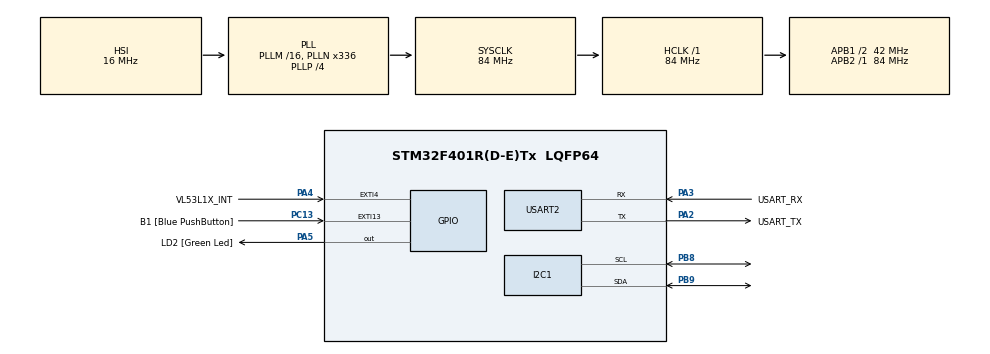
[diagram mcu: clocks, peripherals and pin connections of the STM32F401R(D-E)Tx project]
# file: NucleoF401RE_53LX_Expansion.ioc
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Mcu.Family=STM32F4
Mcu.Name=STM32F401R(D-E)Tx
Mcu.Package=LQFP64
NVIC.EXTI4_IRQn=true\:0\:0\:false\:false\:true
NVIC.PriorityGroup=NVIC_PRIORITYGROUP_0
PA13.GPIO_Label=TMS
PA13.Signal=SYS_JTMS-SWDIO
PA14.GPIO_Label=TCK
PA14.Signal=SYS_JTCK-SWCLK
PA2.GPIO_Label=USART_TX
PA2.GPIO_Mode=GPIO_MODE_AF_PP
PA2.GPIO_PuPd=GPIO_NOPULL
PA2.GPIO_Speed=GPIO_SPEED_FREQ_LOW
PA2.Mode=Asynchronous
PA2.Signal=USART2_TX
PA3.GPIO_Label=USART_RX
PA3.GPIO_Mode=GPIO_MODE_AF_PP
PA3.GPIO_PuPd=GPIO_NOPULL
PA3.GPIO_Speed=GPIO_SPEED_FREQ_LOW
PA3.Mode=Asynchronous
PA3.Signal=USART2_RX
PA4.GPIO_Label=VL53L1X_INT
PA4.GPIO_ModeDefaultEXTI=GPIO_MODE_IT_FALLING
PA4.GPIO_PuPd=GPIO_PULLUP
PA4.Signal=GPXTI4
PA5.GPIO_Label=LD2 [Green Led]
PA5.GPIO_Mode=GPIO_MODE_OUTPUT_PP
PA5.GPIO_PuPd=GPIO_NOPULL
PA5.GPIO_Speed=GPIO_SPEED_FREQ_LOW
PA5.Signal=GPIO_Output
PB3.GPIO_Label=SWO
PB3.Signal=SYS_JTDO-SWO
PB8.Mode=I2C
PB8.Signal=I2C1_SCL
PB9.Mode=I2C
PB9.Signal=I2C1_SDA
PC13-ANTI_TAMP.GPIO_Label=B1 [Blue PushButton]
PC13-ANTI_TAMP.GPIO_ModeDefaultEXTI=GPIO_MODE_IT_FALLING
PC13-ANTI_TAMP.GPIO_PuPd=GPIO_NOPULL
PC13-ANTI_TAMP.Signal=GPXTI13
PC14-OSC32_IN.Signal=RCC_OSC32_IN
PC15-OSC32_OUT.Signal=RCC_OSC32_OUT
PH0\ -\ OSC_IN.Signal=RCC_OSC_IN
PH1\ -\ OSC_OUT.Signal=RCC_OSC_OUT
ProjectManager.HeapSize=0x200
ProjectManager.StackSize=0x400
ProjectManager.TargetToolchain=SW4STM32
RCC.AHBFreq_Value=84000000
RCC.APB1CLKDivider=RCC_HCLK_DIV2
RCC.APB1Freq_Value=42000000
RCC.APB1TimFreq_Value=84000000
RCC.APB2Freq_Value=84000000
RCC.APB2TimFreq_Value=84000000
RCC.CortexFreq_Value=84000000
RCC.HCLKFreq_Value=84000000
RCC.HSE_VALUE=8000000
RCC.HSI_VALUE=16000000
RCC.LSE_VALUE=32768
RCC.PLLN=336
RCC.PLLP=RCC_PLLP_DIV4
RCC.PLLQ=7
RCC.SYSCLKFreq_VALUE=84000000
RCC.SYSCLKSource=RCC_SYSCLKSOURCE_PLLCLK
RCC.VCOOutputFreq_Value=336000000
USART2.VirtualMode=VM_ASYNC
board=NUCLEO-F401RE

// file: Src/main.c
/**
******************************************************************************
* File Name          : main.c
* Description        : Main program body
******************************************************************************
*
* COPYRIGHT(c) 2020 STMicroelectronics
*
* Redistribution and use in source and binary forms, with or without modification,
* are permitted provided that the following conditions are met:
*   1. Redistributions of source code must retain the above copyright notice,
*      this list of conditions and the following disclaimer.
*   2. Redistributions in binary form must reproduce the above copyright notice,
*      this list of conditions and the following disclaimer in the documentation
*      and/or other materials provided with the distribution.
*   3. Neither the name of STMicroelectronics nor the names of its contributors
*      may be used to endorse or promote products derived from this software
*      without specific prior written permission.
*
* THIS SOFTWARE IS PROVIDED BY THE COPYRIGHT HOLDERS AND CONTRIBUTORS "AS IS"
* AND ANY EXPRESS OR IMPLIED WARRANTIES, INCLUDING, BUT NOT LIMITED TO, THE
* IMPLIED WARRANTIES OF MERCHANTABILITY AND FITNESS FOR A PARTICULAR PURPOSE ARE
* DISCLAIMED. IN NO EVENT SHALL THE COPYRIGHT HOLDER OR CONTRIBUTORS BE LIABLE
* FOR ANY DIRECT, INDIRECT, INCIDENTAL, SPECIAL, EXEMPLARY, OR CONSEQUENTIAL
* DAMAGES (INCLUDING, BUT NOT LIMITED TO, PROCUREMENT OF SUBSTITUTE GOODS OR
* SERVICES; LOSS OF USE, DATA, OR PROFITS; OR BUSINESS INTERRUPTION) HOWEVER
* CAUSED AND ON ANY THEORY OF LIABILITY, WHETHER IN CONTRACT, STRICT LIABILITY,
* OR TORT (INCLUDING NEGLIGENCE OR OTHERWISE) ARISING IN ANY WAY OUT OF THE USE
* OF THIS SOFTWARE, EVEN IF ADVISED OF THE POSSIBILITY OF SUCH DAMAGE.
*
******************************************************************************
*/
#include "stm32xxx_hal.h"

/* USER CODE BEGIN Includes */
#include "main.h"
#include "vl53lx_api.h"
#include "53L3A2.h"
/* USER CODE END Includes */
/* USER CODE BEGIN PV */
/* Private variables ---------------------------------------------------------*/
I2C_HandleTypeDef hi2c1;
UART_HandleTypeDef huart2;
VL53LX_Dev_t                   dev;
VL53LX_DEV                     Dev = &dev;
int status;
volatile int IntCount;
#define isInterrupt 1 /* If isInterrupt = 1 then device working in hardware interrupt mode, else device working in polling mode */
/* USER CODE END PV */

/* USER CODE BEGIN PFP */
/* Private function prototypes -----------------------------------------------*/
void SystemClock_Config(void);
void Error_Handler(void);
static void MX_GPIO_Init(void);
static void MX_USART2_UART_Init(void);
static void MX_I2C1_Init(void);
void RangingLoop(void); /*  */
/* USER CODE END PFP */

/* USER CODE BEGIN 0 */
#define PUTCHAR_PROTOTYPE int fputc(int ch, FILE *f)

PUTCHAR_PROTOTYPE
{
  HAL_UART_Transmit(&huart2, (uint8_t*)&ch, 1, 0xFFFF);
  return ch;
}

void HAL_GPIO_EXTI_Callback(uint16_t GPIO_Pin)
{
  if (GPIO_Pin==VL53L1X_INT_Pin)
  {
    IntCount++;
  }
}

/* USER CODE END 0 */

int main(void)
{
  /* USER CODE BEGIN 1 */

  uint8_t byteData;
  uint16_t wordData;
  uint8_t ToFSensor = 1; // 0=Left, 1=Center(default), 2=Right

  /* MCU Configuration----------------------------------------------------------*/

  /* Reset of all peripherals, Initializes the Flash interface and the Systick. */
  HAL_Init();

  /* Configure the system clock */
  SystemClock_Config();

  /* Initialize all configured peripherals */
  MX_GPIO_Init();

  MX_USART2_UART_Init();

  MX_I2C1_Init();

  XNUCLEO53L3A2_Init();

  /* USER CODE END 1 */

  /* USER CODE BEGIN 2 */

  printf("VL53L1X Examples...\n");
  Dev->I2cHandle = &hi2c1;
  Dev->I2cDevAddr = 0x52;

  /* Allow to select the sensor to be used, multi-sensor is not managed in this example.
  Only when use use the Left ToF in interrupt mode,  solder the U7 on the X-Nucleo-53L3A2 board
  Only when use the Right ToF in interrupt mode, solder the U7 on the X-Nucleo-53L3A2 board
  See "Solder drop configurations" in the X-Nucleo-53L3A2 User Manual for more details */
  ToFSensor = 1; // Select ToFSensor: 0=Left, 1=Center, 2=Right
  status = XNUCLEO53L3A2_ResetId(ToFSensor, 0); // Reset ToF sensor
  HAL_Delay(2);
  status = XNUCLEO53L3A2_ResetId(ToFSensor, 1); // Reset ToF sensor
  HAL_Delay(2);

  VL53LX_RdByte(Dev, 0x010F, &byteData);
  printf("VL53LX Model_ID: %02X\n\r", byteData);
  VL53LX_RdByte(Dev, 0x0110, &byteData);
  printf("VL53LX Module_Type: %02X\n\r", byteData);
  VL53LX_RdWord(Dev, 0x010F, &wordData);
  printf("VL53LX: %02X\n\r", wordData);
  RangingLoop();

  /* USER CODE END 2 */

  /* Infinite loop */
  while (1)
  {

  }

}

/** System Clock Configuration
*/
#ifdef STM32F401xE

void SystemClock_Config(void)
{

  RCC_OscInitTypeDef RCC_OscInitStruct;
  RCC_ClkInitTypeDef RCC_ClkInitStruct;

  /**Configure the main internal regulator output voltage
  */
  __HAL_RCC_PWR_CLK_ENABLE();

  __HAL_PWR_VOLTAGESCALING_CONFIG(PWR_REGULATOR_VOLTAGE_SCALE2);

  /**Initializes the CPU, AHB and APB busses clocks
  */
  RCC_OscInitStruct.OscillatorType = RCC_OSCILLATORTYPE_HSI;
  RCC_OscInitStruct.HSIState = RCC_HSI_ON;
  RCC_OscInitStruct.HSICalibrationValue = 16;
  RCC_OscInitStruct.PLL.PLLState = RCC_PLL_ON;
  RCC_OscInitStruct.PLL.PLLSource = RCC_PLLSOURCE_HSI;
  RCC_OscInitStruct.PLL.PLLM = 16;
  RCC_OscInitStruct.PLL.PLLN = 336;
  RCC_OscInitStruct.PLL.PLLP = RCC_PLLP_DIV4;
  RCC_OscInitStruct.PLL.PLLQ = 7;
  if (HAL_RCC_OscConfig(&RCC_OscInitStruct) != HAL_OK)
  {
    Error_Handler();
  }

  /**Initializes the CPU, AHB and APB busses clocks
  */
  RCC_ClkInitStruct.ClockType = RCC_CLOCKTYPE_HCLK|RCC_CLOCKTYPE_SYSCLK
    |RCC_CLOCKTYPE_PCLK1|RCC_CLOCKTYPE_PCLK2;
  RCC_ClkInitStruct.SYSCLKSource = RCC_SYSCLKSOURCE_PLLCLK;
  RCC_ClkInitStruct.AHBCLKDivider = RCC_SYSCLK_DIV1;
  RCC_ClkInitStruct.APB1CLKDivider = RCC_HCLK_DIV2;
  RCC_ClkInitStruct.APB2CLKDivider = RCC_HCLK_DIV1;

  if (HAL_RCC_ClockConfig(&RCC_ClkInitStruct, FLASH_LATENCY_2) != HAL_OK)
  {
    Error_Handler();
  }

  /**Configure the Systick interrupt time
  */
  HAL_SYSTICK_Config(HAL_RCC_GetHCLKFreq()/1000);

  /**Configure the Systick
  */
  HAL_SYSTICK_CLKSourceConfig(SYSTICK_CLKSOURCE_HCLK);

  /* SysTick_IRQn interrupt configuration */
  HAL_NVIC_SetPriority(SysTick_IRQn, 0, 0);
}
#endif

#ifdef STM32L476xx
void SystemClock_Config(void)
{

  RCC_OscInitTypeDef RCC_OscInitStruct;
  RCC_ClkInitTypeDef RCC_ClkInitStruct;
  RCC_PeriphCLKInitTypeDef PeriphClkInit;

  /**Initializes the CPU, AHB and APB busses clocks
  */
  RCC_OscInitStruct.OscillatorType = RCC_OSCILLATORTYPE_HSI;
  RCC_OscInitStruct.HSIState = RCC_HSI_ON;
  RCC_OscInitStruct.HSICalibrationValue = 16;
  RCC_OscInitStruct.PLL.PLLState = RCC_PLL_ON;
  RCC_OscInitStruct.PLL.PLLSource = RCC_PLLSOURCE_HSI;
  RCC_OscInitStruct.PLL.PLLM = 1;
  RCC_OscInitStruct.PLL.PLLN = 10;
  RCC_OscInitStruct.PLL.PLLP = RCC_PLLP_DIV7;
  RCC_OscInitStruct.PLL.PLLQ = RCC_PLLQ_DIV2;
  RCC_OscInitStruct.PLL.PLLR = RCC_PLLR_DIV2;
  if (HAL_RCC_OscConfig(&RCC_OscInitStruct) != HAL_OK)
  {
    Error_Handler();
  }

  /**Initializes the CPU, AHB and APB busses clocks
  */
  RCC_ClkInitStruct.ClockType = RCC_CLOCKTYPE_HCLK|RCC_CLOCKTYPE_SYSCLK
    |RCC_CLOCKTYPE_PCLK1|RCC_CLOCKTYPE_PCLK2;
  RCC_ClkInitStruct.SYSCLKSource = RCC_SYSCLKSOURCE_PLLCLK;
  RCC_ClkInitStruct.AHBCLKDivider = RCC_SYSCLK_DIV1;
  RCC_ClkInitStruct.APB1CLKDivider = RCC_HCLK_DIV1;
  RCC_ClkInitStruct.APB2CLKDivider = RCC_HCLK_DIV1;

  if (HAL_RCC_ClockConfig(&RCC_ClkInitStruct, FLASH_LATENCY_4) != HAL_OK)
  {
    Error_Handler();
  }

  PeriphClkInit.PeriphClockSelection = RCC_PERIPHCLK_USART2|RCC_PERIPHCLK_I2C1;
  PeriphClkInit.Usart2ClockSelection = RCC_USART2CLKSOURCE_PCLK1;
  PeriphClkInit.I2c1ClockSelection = RCC_I2C1CLKSOURCE_PCLK1;
  if (HAL_RCCEx_PeriphCLKConfig(&PeriphClkInit) != HAL_OK)
  {
    Error_Handler();
  }

  /**Configure the main internal regulator output voltage
  */
  if (HAL_PWREx_ControlVoltageScaling(PWR_REGULATOR_VOLTAGE_SCALE1) != HAL_OK)
  {
    Error_Handler();
  }

  /**Configure the Systick interrupt time
  */
  HAL_SYSTICK_Config(HAL_RCC_GetHCLKFreq()/1000);

  /**Configure the Systick
  */
  HAL_SYSTICK_CLKSourceConfig(SYSTICK_CLKSOURCE_HCLK);

  /* SysTick_IRQn interrupt configuration */
  HAL_NVIC_SetPriority(SysTick_IRQn, 0, 0);
}
#endif
#ifdef STM32F401xE

/* I2C1 init function */
static void MX_I2C1_Init(void)
{

  hi2c1.Instance = I2C1;
  hi2c1.Init.ClockSpeed = 100000;
  hi2c1.Init.DutyCycle = I2C_DUTYCYCLE_2;
  hi2c1.Init.OwnAddress1 = 0;
  hi2c1.Init.AddressingMode = I2C_ADDRESSINGMODE_7BIT;
  hi2c1.Init.DualAddressMode = I2C_DUALADDRESS_DISABLE;
  hi2c1.Init.OwnAddress2 = 0;
  hi2c1.Init.GeneralCallMode = I2C_GENERALCALL_DISABLE;
  hi2c1.Init.NoStretchMode = I2C_NOSTRETCH_DISABLE;
  if (HAL_I2C_Init(&hi2c1) != HAL_OK)
  {
    Error_Handler();
  }

}
#endif
#ifdef STM32L476xx
/* I2C1 init function */
static void MX_I2C1_Init(void)
{

  hi2c1.Instance = I2C1;
  hi2c1.Init.Timing = 0x10909CEC;
  hi2c1.Init.OwnAddress1 = 0;
  hi2c1.Init.AddressingMode = I2C_ADDRESSINGMODE_7BIT;
  hi2c1.Init.DualAddressMode = I2C_DUALADDRESS_DISABLE;
  hi2c1.Init.OwnAddress2 = 0;
  hi2c1.Init.OwnAddress2Masks = I2C_OA2_NOMASK;
  hi2c1.Init.GeneralCallMode = I2C_GENERALCALL_DISABLE;
  hi2c1.Init.NoStretchMode = I2C_NOSTRETCH_DISABLE;
  if (HAL_I2C_Init(&hi2c1) != HAL_OK)
  {
    Error_Handler();
  }

  /**Configure Analogue filter
  */
  if (HAL_I2CEx_ConfigAnalogFilter(&hi2c1, I2C_ANALOGFILTER_ENABLE) != HAL_OK)
  {
    Error_Handler();
  }

  /**Configure Digital filter
  */
  if (HAL_I2CEx_ConfigDigitalFilter(&hi2c1, 0) != HAL_OK)
  {
    Error_Handler();
  }

}
#endif
/* USART2 init function */
static void MX_USART2_UART_Init(void)
{

  huart2.Instance = USART2;
  huart2.Init.BaudRate = 115200;
  huart2.Init.WordLength = UART_WORDLENGTH_8B;
  huart2.Init.StopBits = UART_STOPBITS_1;
  huart2.Init.Parity = UART_PARITY_NONE;
  huart2.Init.Mode = UART_MODE_TX_RX;
  huart2.Init.HwFlowCtl = UART_HWCONTROL_NONE;
  huart2.Init.OverSampling = UART_OVERSAMPLING_16;
  if (HAL_UART_Init(&huart2) != HAL_OK)
  {
    Error_Handler();
  }

}

/** Configure pins as
* Analog
* Input
* Output
* EVENT_OUT
* EXTI
*/
static void MX_GPIO_Init(void)
{

  GPIO_InitTypeDef GPIO_InitStruct;

  /* GPIO Ports Clock Enable */
  __HAL_RCC_GPIOC_CLK_ENABLE();
  __HAL_RCC_GPIOH_CLK_ENABLE();
  __HAL_RCC_GPIOA_CLK_ENABLE();
  __HAL_RCC_GPIOB_CLK_ENABLE();

  /*Configure GPIO pin Output Level */
  HAL_GPIO_WritePin(LD2_GPIO_Port, LD2_Pin, GPIO_PIN_RESET);

  /*Configure GPIO pin : B1_Pin */
  GPIO_InitStruct.Pin = B1_Pin;
  GPIO_InitStruct.Mode = GPIO_MODE_IT_FALLING;
  GPIO_InitStruct.Pull = GPIO_NOPULL;
  HAL_GPIO_Init(B1_GPIO_Port, &GPIO_InitStruct);

  /*Configure GPIO pin : VL53L1X_INT_Pin */
  GPIO_InitStruct.Pin = VL53L1X_INT_Pin;
  GPIO_InitStruct.Mode = GPIO_MODE_IT_FALLING;
  GPIO_InitStruct.Pull = GPIO_PULLUP;
  HAL_GPIO_Init(VL53L1X_INT_GPIO_Port, &GPIO_InitStruct);

  /*Configure GPIO pin : LD2_Pin */
  GPIO_InitStruct.Pin = LD2_Pin;
  GPIO_InitStruct.Mode = GPIO_MODE_OUTPUT_PP;
  GPIO_InitStruct.Pull = GPIO_NOPULL;
  GPIO_InitStruct.Speed = GPIO_SPEED_FREQ_LOW;
  HAL_GPIO_Init(LD2_GPIO_Port, &GPIO_InitStruct);

  /* EXTI interrupt init*/
  HAL_NVIC_SetPriority(EXTI4_IRQn, 0, 0);
  HAL_NVIC_EnableIRQ(EXTI4_IRQn);

}

/* USER CODE BEGIN 4 */

/* ranging and display loop */
void RangingLoop(void)
{
  VL53LX_MultiRangingData_t MultiRangingData;
  VL53LX_MultiRangingData_t *pMultiRangingData = &MultiRangingData;
  uint8_t NewDataReady=0;
  int no_of_object_found=0,j;
  printf("Ranging loop starts\n");

  status = VL53LX_WaitDeviceBooted(Dev);
  status = VL53LX_DataInit(Dev);
  status = VL53LX_StartMeasurement(Dev);

  if(status){
    printf("VL53LX_StartMeasurement failed: error = %d \n", status);
    while(1);
  }

  if (isInterrupt){
    do // HW interrupt mode
    {
      __WFI();
      if(IntCount !=0 ){
        IntCount=0;
        status = VL53LX_GetMultiRangingData(Dev, pMultiRangingData);
        no_of_object_found=pMultiRangingData->NumberOfObjectsFound;
        printf("Count=%5d, ", pMultiRangingData->StreamCount);
        printf("#Objs=%1d ", no_of_object_found);
        for(j=0;j<no_of_object_found;j++){
          if(j!=0)printf("\n                     ");
          printf("status=%d, D=%5dmm, Signal=%2.2f Mcps, Ambient=%2.2f Mcps",
                 pMultiRangingData->RangeData[j].RangeStatus,
                 pMultiRangingData->RangeData[j].RangeMilliMeter,
                 pMultiRangingData->RangeData[j].SignalRateRtnMegaCps/65536.0,
                 pMultiRangingData->RangeData[j].AmbientRateRtnMegaCps/65536.0);
        }
        printf ("\n");
        if (status==0){
          status = VL53LX_ClearInterruptAndStartMeasurement(Dev);
        }

      }
    }
    while(1);
  }
  else{
    do{ // polling mode
      status = VL53LX_GetMeasurementDataReady(Dev, &NewDataReady);
      HAL_Delay(1); // 1 ms polling period, could be longer.
      if((!status)&&(NewDataReady!=0)){
        status = VL53LX_GetMultiRangingData(Dev, pMultiRangingData);
        no_of_object_found=pMultiRangingData->NumberOfObjectsFound;
        printf("Count=%5d, ", pMultiRangingData->StreamCount);
        printf("#Objs=%1d ", no_of_object_found);
        for(j=0;j<no_of_object_found;j++){
          if(j!=0)printf("\n                     ");
          printf("status=%d, D=%5dmm, Signal=%2.2f Mcps, Ambient=%2.2f Mcps",
                 pMultiRangingData->RangeData[j].RangeStatus,
                 pMultiRangingData->RangeData[j].RangeMilliMeter,
                 pMultiRangingData->RangeData[j].SignalRateRtnMegaCps/65536.0,
                 pMultiRangingData->RangeData[j].AmbientRateRtnMegaCps/65536.0);
        }
        printf ("\n");
        if (status==0){
          status = VL53LX_ClearInterruptAndStartMeasurement(Dev);
        }
      }
    }
    while (1);
  }
}

/* USER CODE END 4 */

void Error_Handler(void)
{
  while(1)
  {
  }
}

/************************ (C) COPYRIGHT STMicroelectronics *****END OF FILE****/
